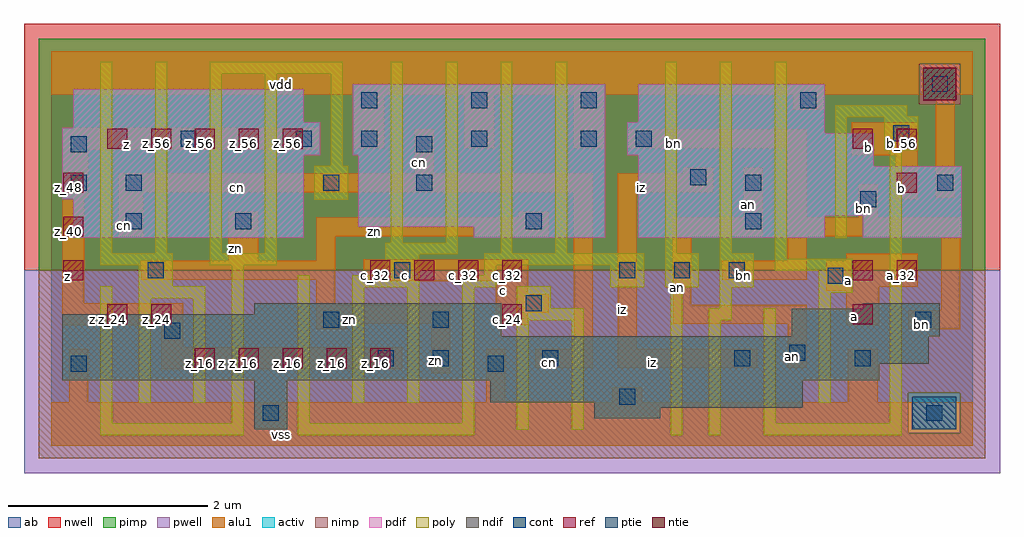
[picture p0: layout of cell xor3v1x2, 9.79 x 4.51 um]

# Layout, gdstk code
import gdstk
lib = gdstk.Library(unit=1e-6, precision=2.5e-09)
def R(c, l, rs):  # rectangles x0, y0, x1, y1
    for r in rs: c.add(gdstk.rectangle(r[:2], r[2:], *l))
def A(c, l, x, y, w, h, nx, ny, dx, dy):  # array of equal rectangles
    R(c, l, [(x+i*dx, y+j*dy, x+i*dx+w, y+j*dy+h) for i in range(nx) for j in range(ny)])
ndif = (3, 0)
pdif = (4, 0)
ntie = (5, 0)
ptie = (6, 0)
ref = (24, 0)
cont = (25, 0)
pwell = (41, 0)
nwell = (42, 0)
activ = (43, 0)
pimp = (44, 0)
nimp = (45, 0)
poly = (46, 0)
alu1 = (49, 0)
ab = (63, 0)

xor3v1x2 = lib.new_cell('xor3v1x2')
R(xor3v1x2, ndif, [(2.035,0.165,2.365,0.66), (5.445,0.275,6.105,0.385), (5.445,0.385,7.535,0.44), (4.4,0.44,7.535,0.66), (0.11,0.66,8.305,0.825), (0.11,0.825,8.8,1.1), (0.11,1.1,4.51,1.32), (7.425,1.1,8.91,1.375), (2.035,1.32,4.51,1.43), (8.14,1.375,8.91,1.43)])
R(xor3v1x2, pdif, [(0.22,2.09,2.53,2.475), (4.235,2.09,5.555,2.2), (5.885,2.09,7.755,2.31), (8.14,2.09,9.13,2.31), (3.08,2.2,5.555,2.915), (5.885,2.31,9.13,2.805), (0.11,2.475,2.53,2.915), (5.885,2.805,8.25,2.915), (0.11,2.915,2.695,3.19), (3.025,2.915,5.555,3.63), (5.775,2.915,8.25,3.135), (5.775,3.135,7.755,3.245), (0.22,3.19,2.695,3.245), (0.22,3.245,2.53,3.575), (5.885,3.245,7.755,3.63)])
R(xor3v1x2, ntie, [(8.745,3.465,9.075,3.795)])
R(xor3v1x2, ptie, [(8.635,0.165,9.075,0.495)])
A(xor3v1x2, ref, 1.44, 0.78, 0.2, 0.2, 5, 1, 0.44, 0)
A(xor3v1x2, ref, 1, 1.22, 0.2, 0.2, 3, 1, 3.52, 0)
A(xor3v1x2, ref, 0.12, 1.66, 0.2, 0.2, 1, 3, 0, 0.44)
A(xor3v1x2, ref, 3.2, 1.66, 0.2, 0.2, 4, 1, 0.44, 0)
A(xor3v1x2, ref, 0.56, 2.98, 0.2, 0.2, 5, 1, 0.44, 0)
R(xor3v1x2, ref, [(0.56,1.22,0.76,1.42), (8.04,1.66,8.24,1.86), (8.48,1.66,8.68,1.86), (8.48,2.54,8.68,2.74), (8.04,2.98,8.24,3.18), (8.48,2.98,8.68,3.18)])
A(xor3v1x2, cont, 5.695, 1.68, 0.16, 0.16, 3, 1, 0.55, 0)
A(xor3v1x2, cont, 3.11, 3, 0.16, 0.16, 3, 2, 1.1, 0.385)
R(xor3v1x2, cont, [(2.12,0.25,2.28,0.41), (8.775,0.25,8.935,0.41), (5.695,0.415,5.855,0.575), (0.195,0.745,0.355,0.905), (4.375,0.745,4.535,0.905), (3.275,0.8,3.435,0.96), (3.825,0.8,3.985,0.96), (4.925,0.8,5.085,0.96), (6.85,0.8,7.01,0.96), (8.06,0.8,8.22,0.96), (7.4,0.855,7.56,1.015), (1.13,1.075,1.29,1.235), (2.725,1.185,2.885,1.345), (3.825,1.185,3.985,1.345), (8.665,1.185,8.825,1.345), (4.76,1.35,4.92,1.51), (7.785,1.625,7.945,1.785), (0.965,1.68,1.125,1.84), (3.44,1.68,3.6,1.84), (0.745,2.175,0.905,2.335), (1.845,2.175,2.005,2.335), (4.76,2.175,4.92,2.335), (6.96,2.175,7.12,2.335), (8.115,2.395,8.275,2.555), (0.195,2.56,0.355,2.72), (0.745,2.56,0.905,2.72), (2.725,2.56,2.885,2.72), (3.66,2.56,3.82,2.72), (6.96,2.56,7.12,2.72), (8.885,2.56,9.045,2.72), (6.41,2.615,6.57,2.775), (0.195,2.945,0.355,3.105), (3.66,2.945,3.82,3.105), (1.295,3,1.455,3.16), (2.45,3,2.61,3.16), (5.86,3,6.02,3.16), (8.445,3.055,8.605,3.215), (7.51,3.385,7.67,3.545), (8.83,3.55,8.99,3.71)])
R(xor3v1x2, pwell, [(-0.275,-0.275,9.515,1.76)])
R(xor3v1x2, nwell, [(-0.275,1.76,9.515,4.235)])
R(xor3v1x2, activ, [(2.035,0.165,2.365,0.66), (8.635,0.165,9.075,0.495), (5.445,0.275,6.105,0.385), (5.445,0.385,7.535,0.44), (4.4,0.44,7.535,0.66), (0.11,0.66,8.305,0.825), (0.11,0.825,8.8,1.1), (0.11,1.1,4.51,1.32), (7.425,1.1,8.91,1.375), (2.035,1.32,4.51,1.43), (8.14,1.375,8.91,1.43), (0.22,2.09,2.53,2.475), (4.235,2.09,5.555,2.2), (5.885,2.09,7.755,2.31), (8.14,2.09,9.13,2.31), (3.08,2.2,5.555,2.915), (5.885,2.31,9.13,2.805), (0.11,2.475,2.53,2.915), (5.885,2.805,8.25,2.915), (0.11,2.915,2.695,3.19), (3.025,2.915,5.555,3.63), (5.775,2.915,8.25,3.135), (5.775,3.135,7.755,3.245), (0.22,3.19,2.695,3.245), (0.22,3.245,2.53,3.575), (5.885,3.245,7.755,3.63), (8.745,3.465,9.075,3.795)])
R(xor3v1x2, pimp, [(8.595,0.125,9.115,0.535), (-0.125,1.76,9.365,3.425), (-0.125,3.425,8.705,3.835), (9.115,3.425,9.365,3.835), (-0.125,3.835,9.365,4.085)])
R(xor3v1x2, nimp, [(-0.125,-0.125,9.365,0.125), (-0.125,0.125,8.595,0.535), (9.115,0.125,9.365,0.535), (-0.125,0.535,9.365,1.76), (8.705,3.425,9.115,3.835)])
R(xor3v1x2, poly, [(0.49,0.105,1.93,0.225), (2.47,0.105,4.24,0.225), (6.21,0.105,6.33,1.59), (6.595,0.105,6.715,1.26), (7.145,0.105,8.53,0.225), (4.67,0.16,4.79,1.26), (5.22,0.16,5.34,1.26), (0.49,0.225,0.61,1.6), (1.81,0.225,1.93,1.81), (2.47,0.225,2.59,1.71), (4.12,0.225,4.24,1.59), (7.145,0.225,7.265,1.38), (8.41,0.225,8.53,2.965), (0.875,0.435,0.995,1.48), (1.425,0.435,1.545,1.48), (3.02,0.435,3.14,1.59), (3.57,0.435,3.69,1.59), (7.695,0.435,7.815,1.535), (4.67,1.26,5.34,1.38), (6.595,1.26,6.825,1.38), (4.67,1.38,5.01,1.6), (6.705,1.38,6.825,1.59), (0.875,1.48,1.545,1.6), (7.695,1.535,8.035,1.755), (3.02,1.59,3.69,1.71), (4.12,1.59,4.46,1.71), (5.605,1.59,5.945,1.81), (6.155,1.59,6.495,1.93), (6.705,1.59,7.045,1.93), (0.875,1.6,1.215,1.81), (3.35,1.71,3.69,1.92), (4.34,1.71,4.46,1.81), (7.255,1.755,8.035,1.875), (0.49,1.81,1.215,1.93), (1.59,1.81,2.26,1.93), (4.34,1.81,5.945,1.93), (7.255,1.875,7.375,3.855), (3.35,1.92,4.075,2.04), (0.49,1.93,0.61,3.855), (1.04,1.93,1.16,3.855), (1.59,1.93,1.71,3.735), (2.14,1.93,2.26,3.735), (4.505,1.93,4.625,3.855), (5.055,1.93,5.175,3.855), (6.155,1.93,6.275,3.855), (6.705,1.93,6.825,3.855), (3.405,2.04,3.525,3.855), (3.955,2.04,4.075,3.855), (7.86,2.085,7.98,3.295), (2.635,2.47,2.975,2.81), (2.8,2.81,2.92,3.735), (8.355,2.965,8.695,3.295), (7.86,3.295,8.695,3.305), (7.86,3.305,8.585,3.415), (1.59,3.735,2.92,3.855)])
A(xor3v1x2, alu1, 3.04, 2.985, 0.3, 0.535, 3, 1, 1.1, 0)
R(xor3v1x2, alu1, [(0,0,9.24,0.44), (0.18,0.44,0.37,0.975), (4.36,0.44,4.55,0.975), (5.625,0.44,5.925,0.59), (7.99,0.44,8.29,0.975), (3.81,0.73,4,1.225), (1.1,0.77,3.52,0.99), (4.855,0.785,5.43,0.975), (5.68,0.785,7.08,0.975), (7.385,0.785,7.575,1.225), (5.24,0.975,5.43,2.545), (5.68,0.975,5.87,2.545), (1.1,0.99,1.32,1.21), (2.655,1.17,2.955,1.225), (8.595,1.17,9.115,1.36), (0.11,1.21,1.32,1.43), (4.455,1.21,4.785,1.335), (7.975,1.21,8.305,1.555), (2.655,1.225,4,1.415), (6.23,1.225,7.575,1.415), (4.455,1.335,4.99,1.525), (8.925,1.36,9.115,2.105), (2.655,1.415,2.845,1.665), (6.23,1.415,6.42,2.105), (0.11,1.43,0.33,2.49), (4.455,1.525,4.785,1.65), (7.77,1.555,8.305,1.595), (7.77,1.595,8.69,1.855), (3.135,1.65,4.785,1.87), (0.895,1.665,2.845,1.855), (6.725,1.665,7.575,1.855), (1.775,1.855,2.075,2.35), (2.655,1.855,2.845,2.105), (7.385,1.855,7.575,2.105), (7.975,1.855,8.69,1.925), (0.675,2.105,0.92,2.545), (2.655,2.105,4.99,2.295), (6.23,2.105,7.135,2.295), (7.385,2.105,9.115,2.295), (4.69,2.295,4.99,2.35), (6.945,2.295,7.135,2.79), (7.385,2.295,7.575,2.985), (8.1,2.295,8.29,2.625), (8.47,2.475,8.69,2.915), (0.11,2.49,0.37,2.97), (8.87,2.49,9.06,3.52), (0.675,2.545,5.43,2.735), (5.68,2.545,6.64,2.735), (3.645,2.735,3.835,3.175), (6.34,2.735,6.64,2.79), (8.03,2.915,8.69,3.245), (0.11,2.97,2.695,3.19), (5.79,2.985,7.575,3.175), (7.44,3.37,7.74,3.52), (0,3.52,9.24,3.96)])
R(xor3v1x2, ab, [(0,0,9.24,3.96)])
xor3v1x2.add(gdstk.Label('vss', (2.31,0.11), layer=49, texttype=0))
xor3v1x2.add(gdstk.Label('bn', (8.725,1.2175), layer=49, texttype=0))
xor3v1x2.add(gdstk.Label('a', (8.0575,1.295), layer=49, texttype=0))
xor3v1x2.add(gdstk.Label('an', (7.4325,0.895), layer=49, texttype=0))
xor3v1x2.add(gdstk.Label('iz', (6.03,0.8325), layer=49, texttype=0))
xor3v1x2.add(gdstk.Label('a', (8,1.66), layer=49, texttype=0))
xor3v1x2.add(gdstk.Label('bn', (6.9375,1.7125), layer=49, texttype=0))
xor3v1x2.add(gdstk.Label('an', (6.2775,1.5875), layer=49, texttype=0))
xor3v1x2.add(gdstk.Label('b', (8.525,2.585), layer=49, texttype=0))
xor3v1x2.add(gdstk.Label('bn', (8.1475,2.3775), layer=49, texttype=0))
xor3v1x2.add(gdstk.Label('b', (8.195,2.9975), layer=49, texttype=0))
xor3v1x2.add(gdstk.Label('an', (6.9925,2.4175), layer=49, texttype=0))
xor3v1x2.add(gdstk.Label('iz', (5.7275,1.3675), layer=49, texttype=0))
xor3v1x2.add(gdstk.Label('iz', (5.92,2.5925), layer=49, texttype=0))
xor3v1x2.add(gdstk.Label('cn', (4.9975,0.8325), layer=49, texttype=0))
xor3v1x2.add(gdstk.Label('zn', (3.8575,0.8525), layer=49, texttype=0))
xor3v1x2.add(gdstk.Label('z', (1.705,0.825), layer=49, texttype=0))
xor3v1x2.add(gdstk.Label('zn', (2.99,1.2725), layer=49, texttype=0))
xor3v1x2.add(gdstk.Label('c', (4.5375,1.555), layer=49, texttype=0))
xor3v1x2.add(gdstk.Label('c', (3.5475,1.705), layer=49, texttype=0))
xor3v1x2.add(gdstk.Label('z', (0.4125,1.265), layer=49, texttype=0))
xor3v1x2.add(gdstk.Label('zn', (3.2375,2.1525), layer=49, texttype=0))
xor3v1x2.add(gdstk.Label('zn', (1.85,1.9775), layer=49, texttype=0))
xor3v1x2.add(gdstk.Label('cn', (0.735,2.215), layer=49, texttype=0))
xor3v1x2.add(gdstk.Label('z', (0.165,1.695), layer=49, texttype=0))
xor3v1x2.add(gdstk.Label('cn', (1.8625,2.5925), layer=49, texttype=0))
xor3v1x2.add(gdstk.Label('bn', (6.235,3.0325), layer=49, texttype=0))
xor3v1x2.add(gdstk.Label('cn', (3.6925,2.845), layer=49, texttype=0))
xor3v1x2.add(gdstk.Label('z', (0.755,3.025), layer=49, texttype=0))
xor3v1x2.add(gdstk.Label('vdd', (2.31,3.63), layer=49, texttype=0))
xor3v1x2.add(gdstk.Label('b_56', (8.09,3.03), layer=24, texttype=0))
xor3v1x2.add(gdstk.Label('b_48', (8.53,2.59), layer=24, texttype=0))
xor3v1x2.add(gdstk.Label('c_32', (4.57,1.71), layer=24, texttype=0))
xor3v1x2.add(gdstk.Label('c_24', (4.57,1.27), layer=24, texttype=0))
xor3v1x2.add(gdstk.Label('c_32', (4.13,1.71), layer=24, texttype=0))
xor3v1x2.add(gdstk.Label('c_32', (3.69,1.71), layer=24, texttype=0))
xor3v1x2.add(gdstk.Label('c_32', (3.25,1.71), layer=24, texttype=0))
xor3v1x2.add(gdstk.Label('z_16', (3.25,0.83), layer=24, texttype=0))
xor3v1x2.add(gdstk.Label('z_16', (2.81,0.83), layer=24, texttype=0))
xor3v1x2.add(gdstk.Label('z_56', (2.37,3.03), layer=24, texttype=0))
xor3v1x2.add(gdstk.Label('z_16', (2.37,0.83), layer=24, texttype=0))
xor3v1x2.add(gdstk.Label('z_48', (0.17,2.59), layer=24, texttype=0))
xor3v1x2.add(gdstk.Label('z_40', (0.17,2.15), layer=24, texttype=0))
xor3v1x2.add(gdstk.Label('z_32', (0.17,1.71), layer=24, texttype=0))
xor3v1x2.add(gdstk.Label('z_56', (1.93,3.03), layer=24, texttype=0))
xor3v1x2.add(gdstk.Label('z_16', (1.93,0.83), layer=24, texttype=0))
xor3v1x2.add(gdstk.Label('z_56', (1.49,3.03), layer=24, texttype=0))
xor3v1x2.add(gdstk.Label('z_16', (1.49,0.83), layer=24, texttype=0))
xor3v1x2.add(gdstk.Label('z_56', (1.05,3.03), layer=24, texttype=0))
xor3v1x2.add(gdstk.Label('z_24', (1.05,1.27), layer=24, texttype=0))
xor3v1x2.add(gdstk.Label('b_56', (8.53,3.03), layer=24, texttype=0))
xor3v1x2.add(gdstk.Label('a_32', (8.53,1.71), layer=24, texttype=0))
xor3v1x2.add(gdstk.Label('a_32', (8.09,1.71), layer=24, texttype=0))
xor3v1x2.add(gdstk.Label('a_24', (8.09,1.27), layer=24, texttype=0))
xor3v1x2.add(gdstk.Label('z_56', (0.61,3.03), layer=24, texttype=0))
xor3v1x2.add(gdstk.Label('z_24', (0.61,1.27), layer=24, texttype=0))

lib.write_gds('xor3v1x2.gds')
